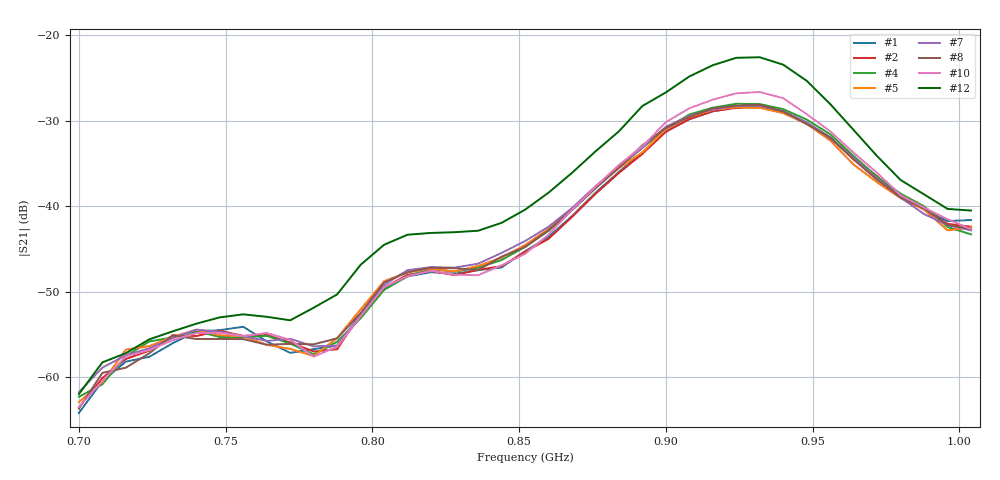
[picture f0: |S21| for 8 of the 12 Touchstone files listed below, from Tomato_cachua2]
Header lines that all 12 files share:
# Hz S RI R 50
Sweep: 700 MHz to 1.004 GHz
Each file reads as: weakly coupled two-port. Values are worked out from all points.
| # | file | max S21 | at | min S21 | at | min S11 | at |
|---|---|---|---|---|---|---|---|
| 1 | cachua41.s2p | -28.29 dB | 932 MHz | -64.1 dB | 700 MHz | -17.6 dB | 932 MHz |
| 2 | cachua42.s2p | -28.43 dB | 932 MHz | -63.5 dB | 700 MHz | -17.7 dB | 932 MHz |
| 3 | cachua43.s2p | -28.06 dB | 932 MHz | -62.9 dB | 700 MHz | -17.0 dB | 932 MHz |
| 4 | cachua44.s2p | -28.03 dB | 924 MHz | -62.3 dB | 700 MHz | -17.0 dB | 932 MHz |
| 5 | cachua45.s2p | -28.44 dB | 924 MHz | -62.9 dB | 700 MHz | -16.6 dB | 932 MHz |
| 6 | cachua46.s2p | -28.24 dB | 924 MHz | -63.7 dB | 700 MHz | -16.4 dB | 932 MHz |
| 7 | cachua47.s2p | -28.27 dB | 932 MHz | -61.7 dB | 700 MHz | -16.9 dB | 932 MHz |
| 8 | cachua48.s2p | -28.14 dB | 932 MHz | -63.6 dB | 700 MHz | -16.6 dB | 932 MHz |
| 9 | cachua49.s2p | -28.22 dB | 932 MHz | -61.4 dB | 700 MHz | -17.4 dB | 932 MHz |
| 10 | cachua50.s2p | -26.66 dB | 932 MHz | -63.4 dB | 700 MHz | -16.6 dB | 932 MHz |
| 11 | cachua51.s2p | -26.88 dB | 932 MHz | -62.4 dB | 700 MHz | -17.6 dB | 932 MHz |
| 12 | moitruongcachua.s2p | -22.60 dB | 932 MHz | -61.9 dB | 700 MHz | -18.8 dB | 932 MHz |
